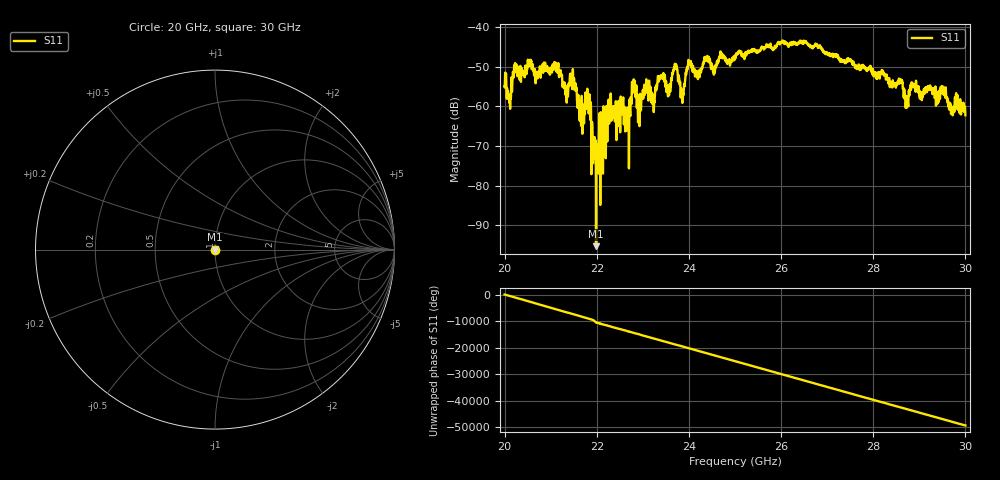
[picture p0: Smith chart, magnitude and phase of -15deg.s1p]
#  HZ  S  RI  R  50.00
! Rohde & Schwarz ZVA40 4Ports - Version 3.90 - 1145.1110k42 SN: 100403
! Date: 2023-10-03 10:13:25
! Measurement: S12
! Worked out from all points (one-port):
!   5001 points, 20 GHz to 30 GHz, reference 50 ohm
!   lowest |S11| = -95.2 dB at 21.98 GHz (marker M1), VSWR 1.00, Z = 50 + j0.000915 ohm
!   |S11| at or under -10 dB: start of sweep to end of sweep
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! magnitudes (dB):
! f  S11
! 20 GHz  -55.0
! 20.09 GHz  -57.6
! 20.22 GHz  -50.4
! 20.54 GHz  -48.4
! 21.25 GHz  -53.5
! 21.34 GHz  -56.0
! 21.47 GHz  -55.7
! 21.68 GHz  -57.8
! 21.83 GHz  -61.8
! 21.98 GHz  -95.2
! 22.26 GHz  -58.3
! 22.5 GHz  -59.2
! 22.66 GHz  -63.4
! 22.81 GHz  -55.3
! 22.92 GHz  -58.4
! 23.75 GHz  -50.9
! 23.86 GHz  -58.7
! 24.01 GHz  -48.8
! 24.21 GHz  -51.3
! 24.37 GHz  -48.6
! 25 GHz  -47.2
! 26.25 GHz  -43.8
! 27.5 GHz  -48.4
! 28.59 GHz  -53.4
! 28.75 GHz  -59.6
! 28.85 GHz  -54.8
! 29.51 GHz  -56.4
! 30 GHz  -62.2
